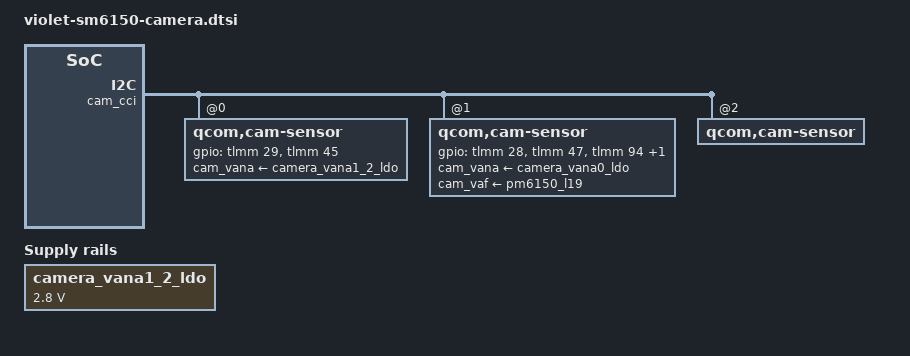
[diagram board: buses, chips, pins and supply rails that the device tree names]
/* Copyright (c) 2020, The Linux Foundation. All rights reserved.
 *
 * This program is free software; you can redistribute it and/or modify
 * it under the terms of the GNU General Public License version 2 and
 * only version 2 as published by the Free Software Foundation.
 *
 * This program is distributed in the hope that it will be useful,
 * but WITHOUT ANY WARRANTY; without even the implied warranty of
 * MERCHANTABILITY or FITNESS FOR A PARTICULAR PURPOSE.  See the
 * GNU General Public License for more details.
 */

&led_flash_rear_aux {
	status = "disabled";
};

&led_flash_front {
	status = "disabled";
};

&led_flash_rear_aux2 {
	status = "disabled";
};

&camera_vana1_2_ldo {
	regulator-min-microvolt = <2800000>;
	regulator-max-microvolt = <2800000>;
};

&actuator_rear {
    cci-master = <1>;
};

&eeprom_rear_aux {
	rgltr-min-voltage = <1800000 2800000 1200000 0 2800000>;
	rgltr-max-voltage = <1800000 2800000 1200000 0 2800000>;
	rgltr-load-current = <0 0 0 0 0>;
	cci-master = <0>;
	clocks = <&clock_camcc CAM_CC_MCLK1_CLK>;
};

&eeprom_front {
	regulator-names = "cam_vio", "cam_vana", "cam_vdig",
		"cam_clk";
	rgltr-min-voltage = <1800000 2800000 1200000 0>;
	rgltr-max-voltage = <1800000 2800000 1200000 0>;
	rgltr-load-current = <0 0 0 0>;
};

&actuator_triple_tele {
	status = "disabled";
};

&eeprom_triple_rear_aux {
	status = "disabled";
};

&ois_rear {
	status = "disabled";
};

&eeprom_rear {
	regulator-names = "cam_vio", "cam_vana", "cam_vdig",
		"cam_clk", "cam_vaf";
	rgltr-min-voltage = <1800000 2850000 1200000 0 2800000>;
	rgltr-max-voltage = <1800000 2850000 1200000 0 2800000>;
	rgltr-load-current = <0 0 0 0 0>;
	gpios = <&tlmm 28 0>,
			<&tlmm 47 0>,
			<&tlmm 94 0>,
			<&tlmm 98 0>;
	gpio-req-tbl-num = <0 1 2 3>;
	gpio-req-tbl-flags = <1 0 0 0>;
	gpio-req-tbl-label = "CAMIF_MCLK0",
		"CAM_RESET0",
		"CAM_DVDD1_2V",
		"CAM_AVDD1_8V";
	gpio-custom1 = <2>;
	gpio-custom2 = <3>;
	cci-master = <1>;
};

&cam_cci {
	qcom,cam-sensor@0 {
		csiphy-sd-index = <1>;
		/delete-property/ led-flash-src;
		/delete-property/ actuator-src;
		/delete-property/ ois-src;
		eeprom-src = <&eeprom_rear_aux>;
		cam_vana-supply = <&camera_vana1_2_ldo>;
		regulator-names = "cam_vio", "cam_vana", "cam_vdig",
			"cam_clk", "cam_vaf";
		rgltr-min-voltage = <1800000 2800000 1200000 0 2800000>;
		rgltr-max-voltage = <1800000 2800000 1200000 0 2800000>;
		rgltr-load-current = <0 0 0 0 0>;
		pinctrl-0 = <&cam_sensor_mclk1_active
					&cam_sensor_rear2_active>;
		pinctrl-1 = <&cam_sensor_mclk1_suspend
					&cam_sensor_rear2_suspend>;
		gpios = <&tlmm 29 0>,
				<&tlmm 45 0>;
		gpio-req-tbl-label = "CAMIF_MCLK1",
							"CAM_RESET1";
		clocks = <&clock_camcc CAM_CC_MCLK1_CLK>;
	};

	qcom,cam-sensor@1 {
		csiphy-sd-index = <0>;
		led-flash-src = <&led_flash_rear>;
		actuator-src = <&actuator_rear>;
		eeprom-src = <&eeprom_rear>;
		cam_vana-supply = <&camera_vana0_ldo>;
		cam_vaf-supply = <&pm6150_l19>;
		regulator-names = "cam_vio", "cam_vana", "cam_vdig",
			"cam_clk", "cam_vaf";
		rgltr-min-voltage = <1800000 2850000 1200000 0 2800000>;
		rgltr-max-voltage = <1800000 2850000 1200000 0 2800000>;
		rgltr-load-current = <0 0 0 0 0>;
		pinctrl-0 = <&cam_sensor_mclk0_active
					&cam_sensor_rear_active>;
		pinctrl-1 = <&cam_sensor_mclk0_suspend
					&cam_sensor_rear_suspend>;
		gpios = <&tlmm 28 0>,
				<&tlmm 47 0>,
				<&tlmm 94 0>,
				<&tlmm 98 0>;
		gpio-req-tbl-num = <0 1 2 3>;
		gpio-req-tbl-flags = <1 0 0 0>;
		gpio-req-tbl-label = "CAMIF_MCLK0",
			"CAM_RESET0",
			"CAM_DVDD1_2V",
			"CAM_AVDD1_8V";
		gpio-custom1 = <2>;
		gpio-custom2 = <3>;
		clocks = <&clock_camcc CAM_CC_MCLK0_CLK>;
	};

	qcom,cam-sensor@2 {
		/delete-property/ led-flash-src;
		regulator-names = "cam_vio", "cam_vana", "cam_vdig",
			"cam_clk";
		rgltr-min-voltage = <1800000 2800000 1200000 0>;
		rgltr-max-voltage = <1800000 2800000 1200000 0>;
		rgltr-load-current = <0 0 0 0>;
	};

	qcom,cam-sensor@3 {
		status = "disabled";
	};

	qcom,cam-sensor@4 {
		status = "disabled";
	};

	qcom,cam-sensor@5 {
		status = "disabled";
	};

	qcom,cam-sensor@6 {
		status = "disabled";
	};
};
